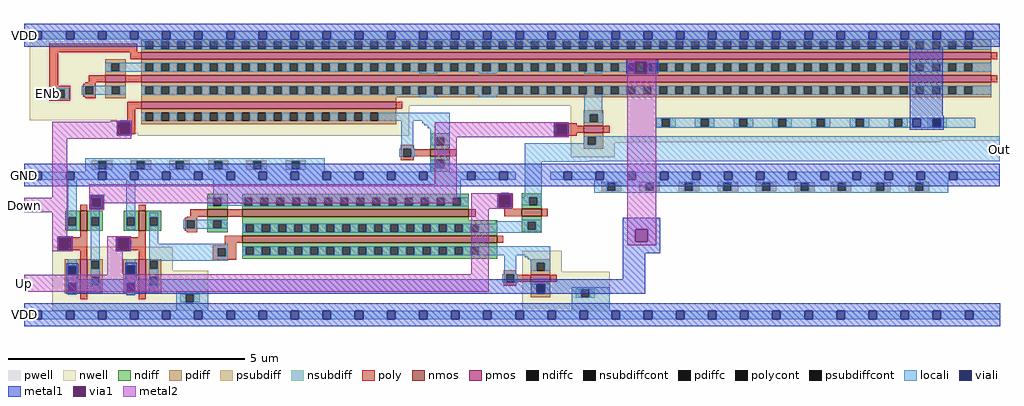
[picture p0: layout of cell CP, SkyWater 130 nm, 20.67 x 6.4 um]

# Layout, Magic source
magic
tech sky130A
magscale 1 2
<< nwell >>
rect 24 934 4132 1252
rect 24 872 1632 934
rect 392 846 1632 872
rect 460 816 1632 846
rect 482 806 1632 816
rect 2316 786 4132 934
rect 2316 778 3884 786
rect 2316 776 2576 778
rect 2316 716 2502 776
rect 120 234 630 336
rect 120 64 780 234
rect 2110 230 2278 320
rect 2110 62 2482 230
<< pwell >>
rect 288 662 374 702
rect 452 662 538 702
rect 616 662 702 702
rect 780 662 866 702
rect 942 662 1028 702
rect 1108 662 1194 702
rect 2444 572 2530 612
rect 2606 572 2692 612
rect 2774 572 2860 612
rect 2940 608 3026 612
rect 2938 574 3026 608
rect 2940 572 3026 574
rect 3100 572 3186 612
rect 3264 570 3350 610
rect 3418 572 3504 612
rect 3586 570 3672 610
rect 3748 572 3834 612
<< nmos >>
rect 1720 720 1804 750
rect 238 404 268 488
rect 486 404 516 488
rect 776 464 864 494
rect 924 464 1884 494
rect 2108 466 2192 496
rect 924 352 2004 382
<< pmos >>
rect 496 1130 4096 1160
rect 344 1032 432 1062
rect 496 1032 4096 1062
rect 496 920 1576 950
rect 2370 818 2454 848
rect 238 140 268 284
rect 486 140 516 284
rect 2146 188 2230 218
<< ndiff >>
rect 1720 800 1804 816
rect 1720 766 1746 800
rect 1780 766 1804 800
rect 1720 750 1804 766
rect 1720 704 1804 720
rect 1720 670 1746 704
rect 1780 670 1804 704
rect 1720 654 1804 670
rect 776 544 864 560
rect 776 510 802 544
rect 836 510 864 544
rect 776 494 864 510
rect 924 544 1884 560
rect 924 510 932 544
rect 966 510 1000 544
rect 1034 510 1068 544
rect 1102 510 1136 544
rect 1170 510 1204 544
rect 1238 510 1272 544
rect 1306 510 1340 544
rect 1374 510 1408 544
rect 1442 510 1476 544
rect 1510 510 1544 544
rect 1578 510 1612 544
rect 1646 510 1680 544
rect 1714 510 1748 544
rect 1782 510 1816 544
rect 1850 510 1884 544
rect 924 494 1884 510
rect 2108 546 2192 562
rect 2108 512 2140 546
rect 2174 512 2192 546
rect 2108 496 2192 512
rect 174 460 238 488
rect 174 426 188 460
rect 222 426 238 460
rect 174 404 238 426
rect 268 460 334 488
rect 268 426 284 460
rect 318 426 334 460
rect 268 404 334 426
rect 422 460 486 488
rect 422 426 436 460
rect 470 426 486 460
rect 422 404 486 426
rect 516 460 582 488
rect 516 426 532 460
rect 566 426 582 460
rect 516 404 582 426
rect 776 448 864 464
rect 776 414 802 448
rect 836 414 864 448
rect 776 398 864 414
rect 924 448 1884 464
rect 924 432 2004 448
rect 924 398 940 432
rect 974 398 1008 432
rect 1042 398 1076 432
rect 1110 398 1144 432
rect 1178 398 1212 432
rect 1246 398 1280 432
rect 1314 398 1348 432
rect 1382 398 1416 432
rect 1450 398 1484 432
rect 1518 398 1552 432
rect 1586 398 1620 432
rect 1654 398 1688 432
rect 1722 398 1756 432
rect 1790 398 1824 432
rect 1858 398 1892 432
rect 1926 398 2004 432
rect 2108 442 2192 466
rect 2108 408 2134 442
rect 2168 408 2192 442
rect 2108 400 2192 408
rect 924 382 2004 398
rect 924 336 2004 352
rect 924 302 940 336
rect 974 302 1008 336
rect 1042 302 1076 336
rect 1110 302 1144 336
rect 1178 302 1212 336
rect 1246 302 1280 336
rect 1314 302 1348 336
rect 1382 302 1416 336
rect 1450 302 1484 336
rect 1518 302 1552 336
rect 1586 302 1620 336
rect 1654 302 1688 336
rect 1722 302 1756 336
rect 1790 302 1824 336
rect 1858 302 1892 336
rect 1926 302 2004 336
rect 924 286 2004 302
<< pdiff >>
rect 496 1206 4096 1216
rect 496 1172 514 1206
rect 548 1172 582 1206
rect 616 1172 650 1206
rect 684 1172 718 1206
rect 752 1172 786 1206
rect 820 1172 854 1206
rect 888 1172 922 1206
rect 956 1172 990 1206
rect 1024 1172 1058 1206
rect 1092 1172 1126 1206
rect 1160 1172 1194 1206
rect 1228 1172 1262 1206
rect 1296 1172 1330 1206
rect 1364 1172 1398 1206
rect 1432 1172 1466 1206
rect 1500 1172 1534 1206
rect 1568 1172 1602 1206
rect 1636 1172 1670 1206
rect 1704 1172 1738 1206
rect 1772 1172 1806 1206
rect 1840 1172 1874 1206
rect 1908 1172 1942 1206
rect 1976 1172 2010 1206
rect 2044 1172 2078 1206
rect 2112 1172 2146 1206
rect 2180 1172 2214 1206
rect 2248 1172 2282 1206
rect 2316 1172 2350 1206
rect 2384 1172 2418 1206
rect 2452 1172 2486 1206
rect 2520 1172 2554 1206
rect 2588 1172 2622 1206
rect 2656 1172 2690 1206
rect 2724 1172 2758 1206
rect 2792 1172 2826 1206
rect 2860 1172 2894 1206
rect 2928 1172 2962 1206
rect 2996 1172 3030 1206
rect 3064 1172 3098 1206
rect 3132 1172 3166 1206
rect 3200 1172 3234 1206
rect 3268 1172 3302 1206
rect 3336 1172 3370 1206
rect 3404 1172 3438 1206
rect 3472 1172 3506 1206
rect 3540 1172 3574 1206
rect 3608 1172 3642 1206
rect 3676 1172 3710 1206
rect 3744 1172 3778 1206
rect 3812 1172 3846 1206
rect 3880 1172 3914 1206
rect 3948 1172 3982 1206
rect 4016 1172 4096 1206
rect 496 1160 4096 1172
rect 344 1114 432 1130
rect 344 1080 370 1114
rect 404 1080 432 1114
rect 344 1062 432 1080
rect 496 1114 4096 1130
rect 496 1080 514 1114
rect 548 1080 582 1114
rect 616 1080 650 1114
rect 684 1080 718 1114
rect 752 1080 786 1114
rect 820 1080 854 1114
rect 888 1080 922 1114
rect 956 1080 990 1114
rect 1024 1080 1058 1114
rect 1092 1080 1126 1114
rect 1160 1080 1194 1114
rect 1228 1080 1262 1114
rect 1296 1080 1330 1114
rect 1364 1080 1398 1114
rect 1432 1080 1466 1114
rect 1500 1080 1534 1114
rect 1568 1080 1602 1114
rect 1636 1080 1670 1114
rect 1704 1080 1738 1114
rect 1772 1080 1806 1114
rect 1840 1080 1874 1114
rect 1908 1080 1942 1114
rect 1976 1080 2010 1114
rect 2044 1080 2078 1114
rect 2112 1080 2146 1114
rect 2180 1080 2214 1114
rect 2248 1080 2282 1114
rect 2316 1080 2350 1114
rect 2384 1080 2418 1114
rect 2452 1080 2486 1114
rect 2520 1080 2554 1114
rect 2588 1080 2622 1114
rect 2656 1080 2690 1114
rect 2724 1080 2758 1114
rect 2792 1080 2826 1114
rect 2860 1080 2894 1114
rect 2928 1080 2962 1114
rect 2996 1080 3030 1114
rect 3064 1080 3098 1114
rect 3132 1080 3166 1114
rect 3200 1080 3234 1114
rect 3268 1080 3302 1114
rect 3336 1080 3370 1114
rect 3404 1080 3438 1114
rect 3472 1080 3506 1114
rect 3540 1080 3574 1114
rect 3608 1080 3642 1114
rect 3676 1080 3710 1114
rect 3744 1080 3778 1114
rect 3812 1080 3846 1114
rect 3880 1080 3914 1114
rect 3948 1080 3982 1114
rect 4016 1080 4096 1114
rect 496 1062 4096 1080
rect 344 1016 432 1032
rect 344 982 372 1016
rect 406 982 432 1016
rect 344 966 432 982
rect 496 1016 4096 1032
rect 496 982 514 1016
rect 548 982 582 1016
rect 616 982 650 1016
rect 684 982 718 1016
rect 752 982 786 1016
rect 820 982 854 1016
rect 888 982 922 1016
rect 956 982 990 1016
rect 1024 982 1058 1016
rect 1092 982 1126 1016
rect 1160 982 1194 1016
rect 1228 982 1262 1016
rect 1296 982 1330 1016
rect 1364 982 1398 1016
rect 1432 982 1466 1016
rect 1500 982 1534 1016
rect 1568 982 1602 1016
rect 1636 982 1670 1016
rect 1704 982 1738 1016
rect 1772 982 1806 1016
rect 1840 982 1874 1016
rect 1908 982 1942 1016
rect 1976 982 2010 1016
rect 2044 982 2078 1016
rect 2112 982 2146 1016
rect 2180 982 2214 1016
rect 2248 982 2282 1016
rect 2316 982 2350 1016
rect 2384 982 2418 1016
rect 2452 982 2486 1016
rect 2520 982 2554 1016
rect 2588 982 2622 1016
rect 2656 982 2690 1016
rect 2724 982 2758 1016
rect 2792 982 2826 1016
rect 2860 982 2894 1016
rect 2928 982 2962 1016
rect 2996 982 3030 1016
rect 3064 982 3098 1016
rect 3132 982 3166 1016
rect 3200 982 3234 1016
rect 3268 982 3302 1016
rect 3336 982 3370 1016
rect 3404 982 3438 1016
rect 3472 982 3506 1016
rect 3540 982 3574 1016
rect 3608 982 3642 1016
rect 3676 982 3710 1016
rect 3744 982 3778 1016
rect 3812 982 3846 1016
rect 3880 982 3914 1016
rect 3948 982 3982 1016
rect 4016 982 4096 1016
rect 496 970 4096 982
rect 496 950 1576 970
rect 496 904 1576 920
rect 496 870 514 904
rect 548 870 582 904
rect 616 870 650 904
rect 684 870 718 904
rect 752 870 786 904
rect 820 870 854 904
rect 888 870 922 904
rect 956 870 990 904
rect 1024 870 1058 904
rect 1092 870 1126 904
rect 1160 870 1194 904
rect 1228 870 1262 904
rect 1296 870 1330 904
rect 1364 870 1398 904
rect 1432 870 1466 904
rect 1500 870 1576 904
rect 496 854 1576 870
rect 2370 898 2454 914
rect 2370 864 2396 898
rect 2430 864 2454 898
rect 2370 848 2454 864
rect 2370 802 2454 818
rect 2370 768 2388 802
rect 2422 768 2454 802
rect 2370 752 2454 768
rect 172 254 238 284
rect 172 220 188 254
rect 222 220 238 254
rect 172 182 238 220
rect 172 148 188 182
rect 222 148 238 182
rect 172 140 238 148
rect 268 276 334 284
rect 268 242 284 276
rect 318 242 334 276
rect 268 208 334 242
rect 268 174 284 208
rect 318 174 334 208
rect 268 140 334 174
rect 420 256 486 284
rect 420 222 436 256
rect 470 222 486 256
rect 420 182 486 222
rect 420 148 436 182
rect 470 148 486 182
rect 420 140 486 148
rect 516 276 582 284
rect 516 242 532 276
rect 566 242 582 276
rect 516 208 582 242
rect 2146 268 2230 284
rect 516 174 532 208
rect 566 174 582 208
rect 516 140 582 174
rect 2146 234 2172 268
rect 2206 234 2230 268
rect 2146 218 2230 234
rect 2146 172 2230 188
rect 2146 138 2172 172
rect 2206 138 2230 172
rect 2146 122 2230 138
<< ndiffc >>
rect 1746 766 1780 800
rect 1746 670 1780 704
rect 802 510 836 544
rect 932 510 966 544
rect 1000 510 1034 544
rect 1068 510 1102 544
rect 1136 510 1170 544
rect 1204 510 1238 544
rect 1272 510 1306 544
rect 1340 510 1374 544
rect 1408 510 1442 544
rect 1476 510 1510 544
rect 1544 510 1578 544
rect 1612 510 1646 544
rect 1680 510 1714 544
rect 1748 510 1782 544
rect 1816 510 1850 544
rect 2140 512 2174 546
rect 188 426 222 460
rect 284 426 318 460
rect 436 426 470 460
rect 532 426 566 460
rect 802 414 836 448
rect 940 398 974 432
rect 1008 398 1042 432
rect 1076 398 1110 432
rect 1144 398 1178 432
rect 1212 398 1246 432
rect 1280 398 1314 432
rect 1348 398 1382 432
rect 1416 398 1450 432
rect 1484 398 1518 432
rect 1552 398 1586 432
rect 1620 398 1654 432
rect 1688 398 1722 432
rect 1756 398 1790 432
rect 1824 398 1858 432
rect 1892 398 1926 432
rect 2134 408 2168 442
rect 940 302 974 336
rect 1008 302 1042 336
rect 1076 302 1110 336
rect 1144 302 1178 336
rect 1212 302 1246 336
rect 1280 302 1314 336
rect 1348 302 1382 336
rect 1416 302 1450 336
rect 1484 302 1518 336
rect 1552 302 1586 336
rect 1620 302 1654 336
rect 1688 302 1722 336
rect 1756 302 1790 336
rect 1824 302 1858 336
rect 1892 302 1926 336
<< pdiffc >>
rect 514 1172 548 1206
rect 582 1172 616 1206
rect 650 1172 684 1206
rect 718 1172 752 1206
rect 786 1172 820 1206
rect 854 1172 888 1206
rect 922 1172 956 1206
rect 990 1172 1024 1206
rect 1058 1172 1092 1206
rect 1126 1172 1160 1206
rect 1194 1172 1228 1206
rect 1262 1172 1296 1206
rect 1330 1172 1364 1206
rect 1398 1172 1432 1206
rect 1466 1172 1500 1206
rect 1534 1172 1568 1206
rect 1602 1172 1636 1206
rect 1670 1172 1704 1206
rect 1738 1172 1772 1206
rect 1806 1172 1840 1206
rect 1874 1172 1908 1206
rect 1942 1172 1976 1206
rect 2010 1172 2044 1206
rect 2078 1172 2112 1206
rect 2146 1172 2180 1206
rect 2214 1172 2248 1206
rect 2282 1172 2316 1206
rect 2350 1172 2384 1206
rect 2418 1172 2452 1206
rect 2486 1172 2520 1206
rect 2554 1172 2588 1206
rect 2622 1172 2656 1206
rect 2690 1172 2724 1206
rect 2758 1172 2792 1206
rect 2826 1172 2860 1206
rect 2894 1172 2928 1206
rect 2962 1172 2996 1206
rect 3030 1172 3064 1206
rect 3098 1172 3132 1206
rect 3166 1172 3200 1206
rect 3234 1172 3268 1206
rect 3302 1172 3336 1206
rect 3370 1172 3404 1206
rect 3438 1172 3472 1206
rect 3506 1172 3540 1206
rect 3574 1172 3608 1206
rect 3642 1172 3676 1206
rect 3710 1172 3744 1206
rect 3778 1172 3812 1206
rect 3846 1172 3880 1206
rect 3914 1172 3948 1206
rect 3982 1172 4016 1206
rect 370 1080 404 1114
rect 514 1080 548 1114
rect 582 1080 616 1114
rect 650 1080 684 1114
rect 718 1080 752 1114
rect 786 1080 820 1114
rect 854 1080 888 1114
rect 922 1080 956 1114
rect 990 1080 1024 1114
rect 1058 1080 1092 1114
rect 1126 1080 1160 1114
rect 1194 1080 1228 1114
rect 1262 1080 1296 1114
rect 1330 1080 1364 1114
rect 1398 1080 1432 1114
rect 1466 1080 1500 1114
rect 1534 1080 1568 1114
rect 1602 1080 1636 1114
rect 1670 1080 1704 1114
rect 1738 1080 1772 1114
rect 1806 1080 1840 1114
rect 1874 1080 1908 1114
rect 1942 1080 1976 1114
rect 2010 1080 2044 1114
rect 2078 1080 2112 1114
rect 2146 1080 2180 1114
rect 2214 1080 2248 1114
rect 2282 1080 2316 1114
rect 2350 1080 2384 1114
rect 2418 1080 2452 1114
rect 2486 1080 2520 1114
rect 2554 1080 2588 1114
rect 2622 1080 2656 1114
rect 2690 1080 2724 1114
rect 2758 1080 2792 1114
rect 2826 1080 2860 1114
rect 2894 1080 2928 1114
rect 2962 1080 2996 1114
rect 3030 1080 3064 1114
rect 3098 1080 3132 1114
rect 3166 1080 3200 1114
rect 3234 1080 3268 1114
rect 3302 1080 3336 1114
rect 3370 1080 3404 1114
rect 3438 1080 3472 1114
rect 3506 1080 3540 1114
rect 3574 1080 3608 1114
rect 3642 1080 3676 1114
rect 3710 1080 3744 1114
rect 3778 1080 3812 1114
rect 3846 1080 3880 1114
rect 3914 1080 3948 1114
rect 3982 1080 4016 1114
rect 372 982 406 1016
rect 514 982 548 1016
rect 582 982 616 1016
rect 650 982 684 1016
rect 718 982 752 1016
rect 786 982 820 1016
rect 854 982 888 1016
rect 922 982 956 1016
rect 990 982 1024 1016
rect 1058 982 1092 1016
rect 1126 982 1160 1016
rect 1194 982 1228 1016
rect 1262 982 1296 1016
rect 1330 982 1364 1016
rect 1398 982 1432 1016
rect 1466 982 1500 1016
rect 1534 982 1568 1016
rect 1602 982 1636 1016
rect 1670 982 1704 1016
rect 1738 982 1772 1016
rect 1806 982 1840 1016
rect 1874 982 1908 1016
rect 1942 982 1976 1016
rect 2010 982 2044 1016
rect 2078 982 2112 1016
rect 2146 982 2180 1016
rect 2214 982 2248 1016
rect 2282 982 2316 1016
rect 2350 982 2384 1016
rect 2418 982 2452 1016
rect 2486 982 2520 1016
rect 2554 982 2588 1016
rect 2622 982 2656 1016
rect 2690 982 2724 1016
rect 2758 982 2792 1016
rect 2826 982 2860 1016
rect 2894 982 2928 1016
rect 2962 982 2996 1016
rect 3030 982 3064 1016
rect 3098 982 3132 1016
rect 3166 982 3200 1016
rect 3234 982 3268 1016
rect 3302 982 3336 1016
rect 3370 982 3404 1016
rect 3438 982 3472 1016
rect 3506 982 3540 1016
rect 3574 982 3608 1016
rect 3642 982 3676 1016
rect 3710 982 3744 1016
rect 3778 982 3812 1016
rect 3846 982 3880 1016
rect 3914 982 3948 1016
rect 3982 982 4016 1016
rect 514 870 548 904
rect 582 870 616 904
rect 650 870 684 904
rect 718 870 752 904
rect 786 870 820 904
rect 854 870 888 904
rect 922 870 956 904
rect 990 870 1024 904
rect 1058 870 1092 904
rect 1126 870 1160 904
rect 1194 870 1228 904
rect 1262 870 1296 904
rect 1330 870 1364 904
rect 1398 870 1432 904
rect 1466 870 1500 904
rect 2396 864 2430 898
rect 2388 768 2422 802
rect 188 220 222 254
rect 188 148 222 182
rect 284 242 318 276
rect 284 174 318 208
rect 436 222 470 256
rect 436 148 470 182
rect 532 242 566 276
rect 532 174 566 208
rect 2172 234 2206 268
rect 2172 138 2206 172
<< psubdiff >>
rect 288 698 374 702
rect 288 664 314 698
rect 348 664 374 698
rect 288 662 374 664
rect 452 698 538 702
rect 452 664 478 698
rect 512 664 538 698
rect 452 662 538 664
rect 616 698 702 702
rect 616 664 642 698
rect 676 664 702 698
rect 616 662 702 664
rect 780 698 866 702
rect 780 664 806 698
rect 840 664 866 698
rect 780 662 866 664
rect 942 698 1028 702
rect 942 664 970 698
rect 1004 664 1028 698
rect 942 662 1028 664
rect 1108 698 1194 702
rect 1108 664 1134 698
rect 1168 664 1194 698
rect 1108 662 1194 664
rect 2444 608 2530 612
rect 2444 574 2470 608
rect 2504 574 2530 608
rect 2444 572 2530 574
rect 2606 608 2692 612
rect 2606 574 2634 608
rect 2668 574 2692 608
rect 2606 572 2692 574
rect 2774 608 2860 612
rect 2940 608 3026 612
rect 2774 574 2798 608
rect 2832 574 2860 608
rect 2938 574 2962 608
rect 2996 574 3026 608
rect 2774 572 2860 574
rect 2940 572 3026 574
rect 3100 608 3186 612
rect 3100 574 3126 608
rect 3160 574 3186 608
rect 3100 572 3186 574
rect 3264 608 3350 610
rect 3264 574 3290 608
rect 3324 574 3350 608
rect 3264 570 3350 574
rect 3418 608 3504 612
rect 3418 574 3446 608
rect 3480 574 3504 608
rect 3418 572 3504 574
rect 3586 608 3672 610
rect 3586 574 3610 608
rect 3644 574 3672 608
rect 3586 570 3672 574
rect 3748 608 3834 612
rect 3748 574 3774 608
rect 3808 574 3834 608
rect 3748 572 3834 574
<< nsubdiff >>
rect 2678 878 2760 880
rect 2678 844 2702 878
rect 2736 844 2760 878
rect 2678 842 2760 844
rect 2842 878 2924 880
rect 2842 844 2866 878
rect 2900 844 2924 878
rect 2842 842 2924 844
rect 3006 878 3088 880
rect 3006 844 3030 878
rect 3064 844 3088 878
rect 3006 842 3088 844
rect 3170 878 3252 880
rect 3170 844 3194 878
rect 3228 844 3252 878
rect 3170 842 3252 844
rect 3334 878 3416 880
rect 3334 844 3358 878
rect 3392 844 3416 878
rect 3334 842 3416 844
rect 3498 878 3580 880
rect 3498 844 3522 878
rect 3556 844 3580 878
rect 3498 842 3580 844
rect 3662 878 3744 880
rect 3662 844 3686 878
rect 3720 844 3744 878
rect 3662 842 3744 844
rect 3826 878 3908 880
rect 3826 844 3850 878
rect 3884 844 3908 878
rect 3826 842 3908 844
rect 662 134 744 138
rect 662 100 686 134
rect 720 100 744 134
rect 2336 156 2418 158
rect 2336 122 2360 156
rect 2394 122 2418 156
rect 2336 120 2418 122
<< psubdiffcont >>
rect 314 664 348 698
rect 478 664 512 698
rect 642 664 676 698
rect 806 664 840 698
rect 970 664 1004 698
rect 1134 664 1168 698
rect 2470 574 2504 608
rect 2634 574 2668 608
rect 2798 574 2832 608
rect 2962 574 2996 608
rect 3126 574 3160 608
rect 3290 574 3324 608
rect 3446 574 3480 608
rect 3610 574 3644 608
rect 3774 574 3808 608
<< nsubdiffcont >>
rect 2702 844 2736 878
rect 2866 844 2900 878
rect 3030 844 3064 878
rect 3194 844 3228 878
rect 3358 844 3392 878
rect 3522 844 3556 878
rect 3686 844 3720 878
rect 3850 844 3884 878
rect 686 100 720 134
rect 2360 122 2394 156
<< poly >>
rect 108 1160 480 1196
rect 108 1018 146 1160
rect 450 1130 496 1160
rect 4096 1130 4122 1160
rect 274 1032 344 1062
rect 432 1032 496 1062
rect 4096 1032 4122 1062
rect 260 1026 304 1032
rect 108 1002 196 1018
rect 108 968 138 1002
rect 172 968 196 1002
rect 250 1016 304 1026
rect 250 982 260 1016
rect 294 982 304 1016
rect 250 972 304 982
rect 108 954 196 968
rect 260 966 304 972
rect 438 920 496 950
rect 1576 920 1602 950
rect 438 866 472 920
rect 392 856 472 866
rect 392 822 408 856
rect 442 822 472 856
rect 392 812 472 822
rect 2244 850 2342 860
rect 2244 816 2260 850
rect 2294 848 2342 850
rect 2294 818 2370 848
rect 2454 818 2480 848
rect 2294 816 2342 818
rect 2244 806 2342 816
rect 1596 752 1650 768
rect 1596 718 1606 752
rect 1640 750 1650 752
rect 1640 720 1720 750
rect 1804 720 1830 750
rect 1640 718 1650 720
rect 1596 702 1650 718
rect 238 488 268 514
rect 486 488 516 514
rect 2004 548 2070 560
rect 2004 514 2020 548
rect 2054 514 2070 548
rect 2004 504 2070 514
rect 2034 496 2070 504
rect 704 464 776 494
rect 864 464 924 494
rect 1884 464 1914 494
rect 2034 466 2108 496
rect 2192 466 2218 496
rect 690 458 734 464
rect 680 448 734 458
rect 680 414 690 448
rect 724 414 734 448
rect 680 404 734 414
rect 238 376 268 404
rect 486 376 516 404
rect 690 398 734 404
rect 140 366 268 376
rect 140 332 156 366
rect 190 332 268 366
rect 140 322 268 332
rect 388 366 516 376
rect 388 332 404 366
rect 438 332 516 366
rect 850 352 924 382
rect 2004 352 2030 382
rect 850 342 898 352
rect 388 322 516 332
rect 238 284 268 322
rect 486 284 516 322
rect 800 329 898 342
rect 800 295 820 329
rect 854 295 898 329
rect 800 282 898 295
rect 2032 220 2086 236
rect 2032 186 2042 220
rect 2076 218 2086 220
rect 2076 188 2146 218
rect 2230 188 2256 218
rect 2076 186 2086 188
rect 2032 170 2086 186
rect 238 114 268 140
rect 486 114 516 140
<< polycont >>
rect 138 968 172 1002
rect 260 982 294 1016
rect 408 822 442 856
rect 2260 816 2294 850
rect 1606 718 1640 752
rect 2020 514 2054 548
rect 690 414 724 448
rect 156 332 190 366
rect 404 332 438 366
rect 820 295 854 329
rect 2042 186 2076 220
<< locali >>
rect 0 1214 42 1248
rect 76 1214 178 1248
rect 212 1214 314 1248
rect 348 1214 450 1248
rect 484 1214 586 1248
rect 620 1214 722 1248
rect 756 1214 858 1248
rect 892 1214 994 1248
rect 1028 1214 1130 1248
rect 1164 1214 1266 1248
rect 1300 1214 1402 1248
rect 1436 1214 1538 1248
rect 1572 1214 1674 1248
rect 1708 1214 1810 1248
rect 1844 1214 1946 1248
rect 1980 1214 2082 1248
rect 2116 1214 2218 1248
rect 2252 1214 2354 1248
rect 2388 1214 2490 1248
rect 2524 1214 2626 1248
rect 2660 1214 2762 1248
rect 2796 1214 2898 1248
rect 2932 1214 3034 1248
rect 3068 1214 3170 1248
rect 3204 1214 3306 1248
rect 3340 1214 3442 1248
rect 3476 1214 3578 1248
rect 3612 1214 3714 1248
rect 3748 1214 3850 1248
rect 3884 1214 3986 1248
rect 4020 1214 4132 1248
rect 496 1206 4096 1214
rect 496 1172 514 1206
rect 548 1172 582 1206
rect 616 1172 650 1206
rect 684 1172 718 1206
rect 752 1172 786 1206
rect 820 1172 854 1206
rect 888 1172 922 1206
rect 956 1172 990 1206
rect 1024 1172 1058 1206
rect 1092 1172 1126 1206
rect 1160 1172 1194 1206
rect 1228 1172 1262 1206
rect 1296 1172 1330 1206
rect 1364 1172 1398 1206
rect 1432 1172 1466 1206
rect 1500 1172 1534 1206
rect 1568 1172 1602 1206
rect 1636 1172 1670 1206
rect 1704 1172 1738 1206
rect 1772 1172 1806 1206
rect 1840 1172 1874 1206
rect 1908 1172 1942 1206
rect 1976 1172 2010 1206
rect 2044 1172 2078 1206
rect 2112 1172 2146 1206
rect 2180 1172 2214 1206
rect 2248 1172 2282 1206
rect 2316 1172 2350 1206
rect 2384 1172 2418 1206
rect 2452 1172 2486 1206
rect 2520 1172 2554 1206
rect 2588 1172 2622 1206
rect 2656 1172 2690 1206
rect 2724 1172 2758 1206
rect 2792 1172 2826 1206
rect 2860 1172 2894 1206
rect 2928 1172 2962 1206
rect 2996 1172 3030 1206
rect 3064 1172 3098 1206
rect 3132 1172 3166 1206
rect 3200 1172 3234 1206
rect 3268 1172 3302 1206
rect 3336 1172 3370 1206
rect 3404 1172 3438 1206
rect 3472 1172 3506 1206
rect 3540 1172 3574 1206
rect 3608 1172 3642 1206
rect 3676 1172 3710 1206
rect 3744 1172 3778 1206
rect 3812 1172 3846 1206
rect 3880 1172 3914 1206
rect 3948 1172 3982 1206
rect 4016 1172 4096 1206
rect 496 1170 4096 1172
rect 344 1114 4096 1116
rect 344 1080 370 1114
rect 404 1080 514 1114
rect 548 1080 582 1114
rect 616 1080 650 1114
rect 684 1080 718 1114
rect 752 1080 786 1114
rect 820 1080 854 1114
rect 888 1080 922 1114
rect 956 1080 990 1114
rect 1024 1080 1058 1114
rect 1092 1080 1126 1114
rect 1160 1080 1194 1114
rect 1228 1080 1262 1114
rect 1296 1080 1330 1114
rect 1364 1080 1398 1114
rect 1432 1080 1466 1114
rect 1500 1080 1534 1114
rect 1568 1080 1602 1114
rect 1636 1080 1670 1114
rect 1704 1080 1738 1114
rect 1772 1080 1806 1114
rect 1840 1080 1874 1114
rect 1908 1080 1942 1114
rect 1976 1080 2010 1114
rect 2044 1080 2078 1114
rect 2112 1080 2146 1114
rect 2180 1080 2214 1114
rect 2248 1080 2282 1114
rect 2316 1080 2350 1114
rect 2384 1080 2418 1114
rect 2452 1080 2486 1114
rect 2520 1080 2554 1114
rect 2596 1080 2622 1114
rect 2680 1080 2690 1114
rect 2724 1080 2758 1114
rect 2792 1080 2826 1114
rect 2860 1080 2894 1114
rect 2928 1080 2962 1114
rect 2996 1080 3030 1114
rect 3064 1080 3098 1114
rect 3132 1080 3166 1114
rect 3200 1080 3234 1114
rect 3268 1080 3302 1114
rect 3336 1080 3370 1114
rect 3404 1080 3438 1114
rect 3472 1080 3506 1114
rect 3540 1080 3574 1114
rect 3608 1080 3642 1114
rect 3676 1080 3710 1114
rect 3744 1080 3778 1114
rect 3812 1080 3846 1114
rect 3880 1080 3914 1114
rect 3948 1080 3982 1114
rect 4016 1080 4096 1114
rect 344 1078 4096 1080
rect 1674 1068 1750 1078
rect 1926 1068 2002 1078
rect 2374 1068 2450 1078
rect 244 1016 432 1018
rect 102 1002 192 1010
rect 102 968 138 1002
rect 172 968 192 1002
rect 244 982 260 1016
rect 294 982 372 1016
rect 406 982 432 1016
rect 244 980 432 982
rect 496 1016 4096 1018
rect 496 982 514 1016
rect 548 982 582 1016
rect 616 982 650 1016
rect 684 982 718 1016
rect 752 982 786 1016
rect 820 982 854 1016
rect 888 982 922 1016
rect 956 982 990 1016
rect 1024 982 1058 1016
rect 1092 982 1126 1016
rect 1160 982 1194 1016
rect 1228 982 1262 1016
rect 1296 982 1330 1016
rect 1364 982 1398 1016
rect 1432 982 1466 1016
rect 1500 982 1534 1016
rect 1568 982 1602 1016
rect 1636 982 1670 1016
rect 1704 982 1738 1016
rect 1772 982 1806 1016
rect 1840 982 1874 1016
rect 1908 982 1942 1016
rect 1976 982 2010 1016
rect 2044 982 2078 1016
rect 2112 982 2146 1016
rect 2180 982 2214 1016
rect 2248 982 2282 1016
rect 2316 982 2350 1016
rect 2384 982 2418 1016
rect 2452 982 2486 1016
rect 2520 982 2554 1016
rect 2588 982 2622 1016
rect 2656 982 2690 1016
rect 2724 982 2758 1016
rect 2792 982 2826 1016
rect 2860 982 2894 1016
rect 2928 982 2962 1016
rect 2996 982 3030 1016
rect 3064 982 3098 1016
rect 3132 982 3166 1016
rect 3200 982 3234 1016
rect 3268 982 3302 1016
rect 3336 982 3370 1016
rect 3404 982 3438 1016
rect 3472 982 3506 1016
rect 3540 982 3574 1016
rect 3608 982 3642 1016
rect 3676 982 3710 1016
rect 3744 982 3778 1016
rect 3812 982 3846 1016
rect 3880 982 3914 1016
rect 3948 982 3982 1016
rect 4016 982 4096 1016
rect 496 980 4096 982
rect 1674 970 1750 980
rect 1926 970 2002 980
rect 102 962 192 968
rect 408 856 442 872
rect 496 870 514 904
rect 548 870 582 904
rect 616 870 650 904
rect 684 870 718 904
rect 752 870 786 904
rect 820 870 854 904
rect 888 870 922 904
rect 956 870 990 904
rect 1024 870 1058 904
rect 1092 870 1126 904
rect 1160 870 1194 904
rect 1228 870 1262 904
rect 1296 870 1330 904
rect 1364 870 1398 904
rect 1432 870 1466 904
rect 1500 870 1804 904
rect 2374 900 2450 980
rect 408 806 442 822
rect 1598 752 1648 870
rect 1686 860 1804 870
rect 2370 898 2454 900
rect 2370 864 2396 898
rect 2430 864 2454 898
rect 2370 862 2454 864
rect 2676 878 4030 882
rect 1696 850 1804 860
rect 1710 838 1804 850
rect 1720 800 1804 838
rect 2244 816 2260 850
rect 2294 816 2310 850
rect 2676 844 2702 878
rect 2736 844 2866 878
rect 2900 844 3030 878
rect 3064 844 3194 878
rect 3228 844 3358 878
rect 3392 844 3522 878
rect 3556 844 3686 878
rect 3720 844 3764 878
rect 3798 844 3850 878
rect 3884 844 4030 878
rect 2676 840 4030 844
rect 1720 766 1746 800
rect 1780 766 1804 800
rect 2370 802 4132 804
rect 2370 774 2388 802
rect 2122 768 2388 774
rect 2422 768 4132 802
rect 1590 718 1606 752
rect 1640 718 1656 752
rect 260 698 1274 710
rect 260 664 314 698
rect 348 664 478 698
rect 512 664 642 698
rect 676 664 806 698
rect 840 664 970 698
rect 1004 664 1134 698
rect 1168 664 1274 698
rect 260 654 1274 664
rect 1720 670 1746 704
rect 1780 670 1804 704
rect 1720 654 1804 670
rect 2122 698 4132 768
rect 2122 696 2392 698
rect 2 620 42 654
rect 76 620 178 654
rect 212 620 314 654
rect 348 620 450 654
rect 484 620 586 654
rect 620 620 722 654
rect 756 620 858 654
rect 892 620 994 654
rect 1028 620 1130 654
rect 1164 620 1266 654
rect 1300 620 1402 654
rect 1436 620 1538 654
rect 1572 620 1674 654
rect 1708 620 1878 654
rect 1912 620 2014 654
rect 2048 620 2082 654
rect 186 460 224 620
rect 186 426 188 460
rect 222 426 224 460
rect 186 408 224 426
rect 282 542 334 552
rect 282 508 292 542
rect 326 508 334 542
rect 282 500 334 508
rect 282 460 320 500
rect 282 426 284 460
rect 318 426 320 460
rect 140 332 156 366
rect 190 332 206 366
rect 186 254 224 284
rect 186 220 188 254
rect 222 220 224 254
rect 186 182 224 220
rect 186 148 188 182
rect 222 148 224 182
rect 186 132 224 148
rect 282 276 320 426
rect 434 460 472 620
rect 802 546 1850 620
rect 2020 548 2054 564
rect 802 544 1884 546
rect 776 510 802 544
rect 836 510 932 544
rect 966 510 1000 544
rect 1034 510 1068 544
rect 1102 510 1136 544
rect 1170 510 1204 544
rect 1238 510 1272 544
rect 1306 510 1340 544
rect 1374 510 1408 544
rect 1442 510 1476 544
rect 1510 510 1544 544
rect 1578 510 1612 544
rect 1646 510 1680 544
rect 1714 510 1748 544
rect 1782 510 1816 544
rect 1850 510 1884 544
rect 924 508 1884 510
rect 2122 546 2192 696
rect 2228 620 2286 654
rect 2320 620 2422 654
rect 2456 620 2558 654
rect 2592 620 2694 654
rect 2728 620 2830 654
rect 2864 620 2966 654
rect 3000 620 3102 654
rect 3136 620 3238 654
rect 3272 620 3374 654
rect 3408 620 3510 654
rect 3544 620 3646 654
rect 3680 620 3782 654
rect 3816 620 3918 654
rect 3952 620 4132 654
rect 2416 608 3914 620
rect 2416 574 2470 608
rect 2504 574 2634 608
rect 2668 574 2798 608
rect 2832 574 2962 608
rect 2996 574 3126 608
rect 3160 574 3290 608
rect 3324 574 3446 608
rect 3480 574 3610 608
rect 3644 574 3774 608
rect 3808 574 3914 608
rect 2416 564 3914 574
rect 2020 498 2054 514
rect 2108 512 2140 546
rect 2174 512 2192 546
rect 434 426 436 460
rect 470 426 472 460
rect 434 408 472 426
rect 530 460 568 480
rect 530 426 532 460
rect 566 426 568 460
rect 388 332 404 366
rect 438 332 454 366
rect 530 348 568 426
rect 674 448 864 450
rect 674 414 690 448
rect 724 414 802 448
rect 836 414 864 448
rect 2108 444 2192 450
rect 1998 442 2192 444
rect 1998 434 2134 442
rect 674 412 864 414
rect 924 432 2134 434
rect 924 398 940 432
rect 974 398 1008 432
rect 1042 398 1076 432
rect 1110 398 1144 432
rect 1178 398 1212 432
rect 1246 398 1280 432
rect 1314 398 1348 432
rect 1382 398 1416 432
rect 1450 398 1484 432
rect 1518 398 1552 432
rect 1586 398 1620 432
rect 1654 398 1688 432
rect 1722 398 1756 432
rect 1790 398 1824 432
rect 1858 398 1892 432
rect 1926 408 2134 432
rect 2168 408 2192 442
rect 1926 398 2192 408
rect 924 396 2192 398
rect 530 329 862 348
rect 530 295 820 329
rect 854 295 862 329
rect 924 336 2230 338
rect 924 302 940 336
rect 974 302 1008 336
rect 1042 302 1076 336
rect 1110 302 1144 336
rect 1178 302 1212 336
rect 1246 302 1280 336
rect 1314 302 1348 336
rect 1382 302 1416 336
rect 1450 302 1484 336
rect 1518 302 1552 336
rect 1586 302 1620 336
rect 1654 302 1688 336
rect 1722 302 1756 336
rect 1790 302 1824 336
rect 1858 302 1892 336
rect 1926 302 2230 336
rect 924 300 2230 302
rect 282 242 284 276
rect 318 242 320 276
rect 282 208 320 242
rect 282 174 284 208
rect 318 174 320 208
rect 282 140 320 174
rect 434 256 472 284
rect 434 222 436 256
rect 470 222 472 256
rect 434 183 472 222
rect 434 148 436 183
rect 470 148 472 183
rect 434 132 472 148
rect 530 276 862 295
rect 530 242 532 276
rect 566 242 568 276
rect 530 208 568 242
rect 2034 220 2084 300
rect 2120 292 2230 300
rect 2134 284 2230 292
rect 2144 274 2230 284
rect 2146 268 2230 274
rect 2146 234 2172 268
rect 2206 234 2230 268
rect 530 174 532 208
rect 566 174 568 208
rect 2026 186 2042 220
rect 2076 186 2092 220
rect 530 140 568 174
rect 2146 178 2230 180
rect 644 134 780 146
rect 2146 138 2172 178
rect 2206 138 2230 178
rect 2320 156 2482 164
rect 644 100 686 134
rect 720 100 780 134
rect 644 64 780 100
rect 2320 122 2360 156
rect 2394 122 2482 156
rect 2320 64 2482 122
rect 0 30 42 64
rect 76 30 178 64
rect 212 30 314 64
rect 348 30 450 64
rect 484 30 586 64
rect 620 30 722 64
rect 756 30 858 64
rect 892 30 994 64
rect 1028 30 1130 64
rect 1164 30 1266 64
rect 1300 30 1402 64
rect 1436 30 1538 64
rect 1572 30 1674 64
rect 1708 30 1810 64
rect 1844 30 1946 64
rect 1980 30 2082 64
rect 2116 30 2218 64
rect 2252 30 2354 64
rect 2388 30 2490 64
rect 2524 30 2626 64
rect 2660 30 2762 64
rect 2796 30 2898 64
rect 2932 30 3034 64
rect 3068 30 3170 64
rect 3204 30 3306 64
rect 3340 30 3442 64
rect 3476 30 3578 64
rect 3612 30 3714 64
rect 3748 30 3850 64
rect 3884 30 3986 64
rect 4020 30 4134 64
<< viali >>
rect 42 1214 76 1248
rect 178 1214 212 1248
rect 314 1214 348 1248
rect 450 1214 484 1248
rect 586 1214 620 1248
rect 722 1214 756 1248
rect 858 1214 892 1248
rect 994 1214 1028 1248
rect 1130 1214 1164 1248
rect 1266 1214 1300 1248
rect 1402 1214 1436 1248
rect 1538 1214 1572 1248
rect 1674 1214 1708 1248
rect 1810 1214 1844 1248
rect 1946 1214 1980 1248
rect 2082 1214 2116 1248
rect 2218 1214 2252 1248
rect 2354 1214 2388 1248
rect 2490 1214 2524 1248
rect 2626 1214 2660 1248
rect 2762 1214 2796 1248
rect 2898 1214 2932 1248
rect 3034 1214 3068 1248
rect 3170 1214 3204 1248
rect 3306 1214 3340 1248
rect 3442 1214 3476 1248
rect 3578 1214 3612 1248
rect 3714 1214 3748 1248
rect 3850 1214 3884 1248
rect 3986 1214 4020 1248
rect 2562 1080 2588 1114
rect 2588 1080 2596 1114
rect 2646 1080 2656 1114
rect 2656 1080 2680 1114
rect 408 822 442 856
rect 2260 816 2294 850
rect 3764 844 3798 878
rect 3850 844 3884 878
rect 42 620 76 654
rect 178 620 212 654
rect 314 620 348 654
rect 450 620 484 654
rect 586 620 620 654
rect 722 620 756 654
rect 858 620 892 654
rect 994 620 1028 654
rect 1130 620 1164 654
rect 1266 620 1300 654
rect 1402 620 1436 654
rect 1538 620 1572 654
rect 1674 620 1708 654
rect 1878 620 1912 654
rect 2014 620 2048 654
rect 292 508 326 542
rect 156 332 190 366
rect 188 220 222 254
rect 188 148 222 182
rect 2020 514 2054 548
rect 2286 620 2320 654
rect 2422 620 2456 654
rect 2558 620 2592 654
rect 2694 620 2728 654
rect 2830 620 2864 654
rect 2966 620 3000 654
rect 3102 620 3136 654
rect 3238 620 3272 654
rect 3374 620 3408 654
rect 3510 620 3544 654
rect 3646 620 3680 654
rect 3782 620 3816 654
rect 3918 620 3952 654
rect 404 332 438 366
rect 436 222 470 256
rect 436 182 470 183
rect 436 149 470 182
rect 2172 172 2206 178
rect 2172 144 2206 172
rect 42 30 76 64
rect 178 30 212 64
rect 314 30 348 64
rect 450 30 484 64
rect 586 30 620 64
rect 722 30 756 64
rect 858 30 892 64
rect 994 30 1028 64
rect 1130 30 1164 64
rect 1266 30 1300 64
rect 1402 30 1436 64
rect 1538 30 1572 64
rect 1674 30 1708 64
rect 1810 30 1844 64
rect 1946 30 1980 64
rect 2082 30 2116 64
rect 2218 30 2252 64
rect 2354 30 2388 64
rect 2490 30 2524 64
rect 2626 30 2660 64
rect 2762 30 2796 64
rect 2898 30 2932 64
rect 3034 30 3068 64
rect 3170 30 3204 64
rect 3306 30 3340 64
rect 3442 30 3476 64
rect 3578 30 3612 64
rect 3714 30 3748 64
rect 3850 30 3884 64
rect 3986 30 4020 64
<< metal1 >>
rect 0 1248 4132 1280
rect 0 1214 42 1248
rect 76 1214 178 1248
rect 212 1214 314 1248
rect 348 1214 450 1248
rect 484 1214 586 1248
rect 620 1214 722 1248
rect 756 1214 858 1248
rect 892 1214 994 1248
rect 1028 1214 1130 1248
rect 1164 1214 1266 1248
rect 1300 1214 1402 1248
rect 1436 1214 1538 1248
rect 1572 1214 1674 1248
rect 1708 1214 1810 1248
rect 1844 1214 1946 1248
rect 1980 1214 2082 1248
rect 2116 1214 2218 1248
rect 2252 1214 2354 1248
rect 2388 1214 2490 1248
rect 2524 1214 2626 1248
rect 2660 1214 2762 1248
rect 2796 1214 2898 1248
rect 2932 1214 3034 1248
rect 3068 1214 3170 1248
rect 3204 1214 3306 1248
rect 3340 1214 3442 1248
rect 3476 1214 3578 1248
rect 3612 1214 3714 1248
rect 3748 1214 3850 1248
rect 3884 1214 3986 1248
rect 4020 1214 4132 1248
rect 0 1184 4132 1214
rect 2550 1120 2686 1126
rect 2550 1114 2586 1120
rect 2638 1114 2686 1120
rect 2550 1080 2562 1114
rect 2638 1080 2646 1114
rect 2680 1080 2686 1114
rect 2550 1068 2586 1080
rect 2638 1068 2686 1080
rect 3752 892 3892 1184
rect 3752 878 3896 892
rect 392 864 456 870
rect 392 812 398 864
rect 450 812 456 864
rect 392 806 456 812
rect 2244 858 2308 864
rect 2244 806 2250 858
rect 2302 806 2308 858
rect 3752 844 3764 878
rect 3798 844 3850 878
rect 3884 844 3896 878
rect 3752 832 3896 844
rect 2244 804 2308 806
rect 2 654 4132 688
rect 2 620 42 654
rect 76 620 178 654
rect 212 620 314 654
rect 348 620 450 654
rect 484 620 586 654
rect 620 620 722 654
rect 756 620 858 654
rect 892 620 994 654
rect 1028 620 1130 654
rect 1164 620 1266 654
rect 1300 620 1402 654
rect 1436 620 1538 654
rect 1572 620 1674 654
rect 1708 620 1878 654
rect 1912 620 2014 654
rect 2048 620 2286 654
rect 2320 620 2422 654
rect 2456 620 2558 654
rect 2592 620 2694 654
rect 2728 620 2830 654
rect 2864 620 2966 654
rect 3000 620 3102 654
rect 3136 620 3238 654
rect 3272 620 3374 654
rect 3408 620 3510 654
rect 3544 620 3646 654
rect 3680 620 3782 654
rect 3816 620 3918 654
rect 3952 620 4132 654
rect 2 592 4132 620
rect 2004 556 2068 562
rect 276 550 340 556
rect 276 498 282 550
rect 334 498 340 550
rect 2004 504 2010 556
rect 2062 504 2068 556
rect 2004 498 2068 504
rect 276 492 340 498
rect 2536 410 2694 458
rect 142 374 206 380
rect 142 322 148 374
rect 200 322 206 374
rect 142 316 206 322
rect 388 374 452 380
rect 388 322 394 374
rect 446 322 452 374
rect 388 316 452 322
rect 2536 358 2590 410
rect 2642 358 2694 410
rect 2536 308 2694 358
rect 180 254 230 266
rect 180 220 188 254
rect 222 220 230 254
rect 180 198 230 220
rect 428 256 478 268
rect 428 222 436 256
rect 470 222 478 256
rect 428 198 478 222
rect 2536 198 2632 308
rect 180 183 2632 198
rect 180 182 436 183
rect 180 148 188 182
rect 222 149 436 182
rect 470 178 2632 183
rect 470 149 2172 178
rect 222 148 2172 149
rect 180 144 2172 148
rect 2206 144 2632 178
rect 180 138 2632 144
rect 180 136 226 138
rect 436 130 470 138
rect 0 64 4134 96
rect 0 30 42 64
rect 76 30 178 64
rect 212 30 314 64
rect 348 30 450 64
rect 484 30 586 64
rect 620 30 722 64
rect 756 30 858 64
rect 892 30 994 64
rect 1028 30 1130 64
rect 1164 30 1266 64
rect 1300 30 1402 64
rect 1436 30 1538 64
rect 1572 30 1674 64
rect 1708 30 1810 64
rect 1844 30 1946 64
rect 1980 30 2082 64
rect 2116 30 2218 64
rect 2252 30 2354 64
rect 2388 30 2490 64
rect 2524 30 2626 64
rect 2660 30 2762 64
rect 2796 30 2898 64
rect 2932 30 3034 64
rect 3068 30 3170 64
rect 3204 30 3306 64
rect 3340 30 3442 64
rect 3476 30 3578 64
rect 3612 30 3714 64
rect 3748 30 3850 64
rect 3884 30 3986 64
rect 4020 30 4134 64
rect 0 0 4134 30
<< via1 >>
rect 2586 1114 2638 1120
rect 2586 1080 2596 1114
rect 2596 1080 2638 1114
rect 2586 1068 2638 1080
rect 398 856 450 864
rect 398 822 408 856
rect 408 822 442 856
rect 442 822 450 856
rect 398 812 450 822
rect 2250 850 2302 858
rect 2250 816 2260 850
rect 2260 816 2294 850
rect 2294 816 2302 850
rect 2250 806 2302 816
rect 282 542 334 550
rect 282 508 292 542
rect 292 508 326 542
rect 326 508 334 542
rect 282 498 334 508
rect 2010 548 2062 556
rect 2010 514 2020 548
rect 2020 514 2054 548
rect 2054 514 2062 548
rect 2010 504 2062 514
rect 148 366 200 374
rect 148 332 156 366
rect 156 332 190 366
rect 190 332 200 366
rect 148 322 200 332
rect 394 366 446 374
rect 394 332 404 366
rect 404 332 438 366
rect 438 332 446 366
rect 394 322 446 332
rect 2590 358 2642 410
<< metal2 >>
rect 2556 1120 2678 1126
rect 2556 1068 2586 1120
rect 2638 1068 2678 1120
rect 368 866 456 870
rect 120 864 456 866
rect 120 812 398 864
rect 450 812 456 864
rect 120 806 456 812
rect 1740 858 2308 864
rect 1740 806 2250 858
rect 2302 806 2308 858
rect 120 794 454 806
rect 1740 800 2308 806
rect 120 544 184 794
rect 1740 600 1834 800
rect 2 482 184 544
rect 276 550 1834 600
rect 276 498 282 550
rect 334 520 1834 550
rect 1894 556 2068 562
rect 334 498 340 520
rect 276 492 340 498
rect 1894 504 2010 556
rect 2062 504 2068 556
rect 1894 498 2068 504
rect 120 380 184 482
rect 120 374 206 380
rect 120 322 148 374
rect 200 322 206 374
rect 120 316 206 322
rect 352 374 452 380
rect 352 322 394 374
rect 446 322 452 374
rect 352 220 418 322
rect 1894 220 1968 498
rect 2556 410 2678 1068
rect 2556 358 2590 410
rect 2642 358 2678 410
rect 2556 342 2678 358
rect 352 218 1968 220
rect 2 146 1968 218
<< labels >>
rlabel metal1 s 0 48 0 48 4 VDD
port 1 nsew
rlabel metal1 s 0 1232 0 1232 4 VDD
port 1 nsew
rlabel metal1 s 2 640 2 640 4 GND
port 2 nsew
rlabel metal2 s 2 182 2 182 4 Up
port 3 nsew
rlabel metal2 s 2 512 2 512 4 Down
port 4 nsew
rlabel locali s 4132 750 4132 750 4 Out
port 5 nsew
rlabel locali s 102 986 102 986 4 ENb
port 6 nsew
<< end >>
